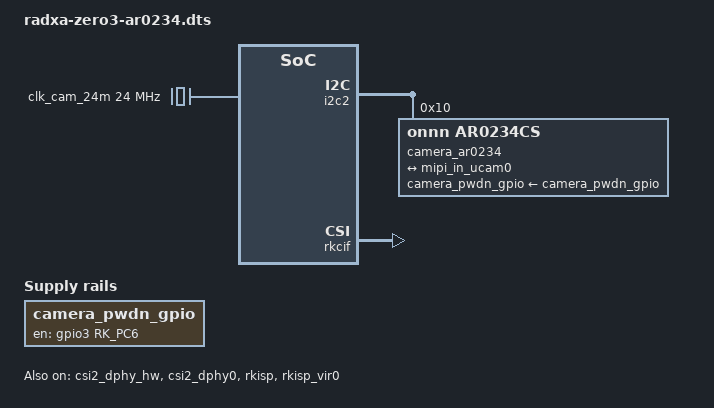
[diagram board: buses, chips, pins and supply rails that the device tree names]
/dts-v1/;
/plugin/;

#include <dt-bindings/gpio/gpio.h>
#include <dt-bindings/pinctrl/rockchip.h>

/ {
    metadata {
        title = "Enable AR0234 ISP";
        compatible = "radxa,zero3";
        category = "camera";
        exclusive = "csi2_dphy0";
        description = "Enable AR0234 via ISP";
    };
};

&{/} {
    clk_cam_24m: external-camera-clock-24m {
		status = "okay";
        compatible = "fixed-clock";
        clock-frequency = <24000000>;
        clock-output-names = "clk_cam_24m";
        #clock-cells = <0>;
    };

    camera_pwdn_gpio: camera-pwdn-gpio {
		status = "okay";
        compatible = "regulator-fixed";
        regulator-name = "camera_pwdn_gpio";
        regulator-always-on;
        regulator-boot-on;
        enable-active-high;
        gpio = <&gpio3 RK_PC6 GPIO_ACTIVE_HIGH>;
    };
};

&i2c2 {
    status = "okay";
    #address-cells = <1>;
    #size-cells = <0>;
    pinctrl-names = "default";
    pinctrl-0 = <&i2c2m1_xfer>;

    camera_ar0234: camera-ar0234@10 {
		status = "okay";
        compatible = "onnn,ar0234cs";
        reg = <0x10>;
        clocks = <&clk_cam_24m>;
        clock-names = "xvclk";
        rockchip,camera-module-index = <0>;
        rockchip,camera-module-facing = "back";
        rockchip,camera-module-name = "ar0234";
        sensor-type = <1>;   /* 1 = Monochrome, 黑白 */
        camera_pwdn_gpio-supply = <&camera_pwdn_gpio>;
        rockchip,camera-module-lens-name = "default";

        port {
            ucam_out0: endpoint {
                remote-endpoint = <&mipi_in_ucam0>;
                data-lanes = <1 2 3 4>;
				link-frequencies = /bits/ 64 <450000000>;
            };
        };
    };
};

&csi2_dphy_hw {
    status = "okay";
};

&csi2_dphy0 {
    status = "okay";

    ports {
        #address-cells = <1>;
        #size-cells = <0>;

        port@0 {
            reg = <0>;
            #address-cells = <1>;
            #size-cells = <0>;

            mipi_in_ucam0: endpoint@1 {
                reg = <1>;
                remote-endpoint = <&ucam_out0>;
                data-lanes = <1 2 3 4>;
				rockchip,ths-settle-offset = <15>;
            };
        };

        port@1 {
            reg = <1>;
            #address-cells = <1>;
            #size-cells = <0>;

            dphy0_out: endpoint@1 {
                reg = <1>;
                remote-endpoint = <&isp0_in>;
            };
        };
    };
};

&rkisp {
    status = "okay";
};

&rkisp_mmu {
    status = "okay";
};

&rkisp_vir0 {
    status = "okay";

    port {
        #address-cells = <1>;
        #size-cells = <0>;

        isp0_in: endpoint@0 {
            reg = <0>;
            remote-endpoint = <&dphy0_out>;
        };
    };
};

&rkcif_mmu {
	status = "okay";
};

&rkcif {
	status = "okay";
};
